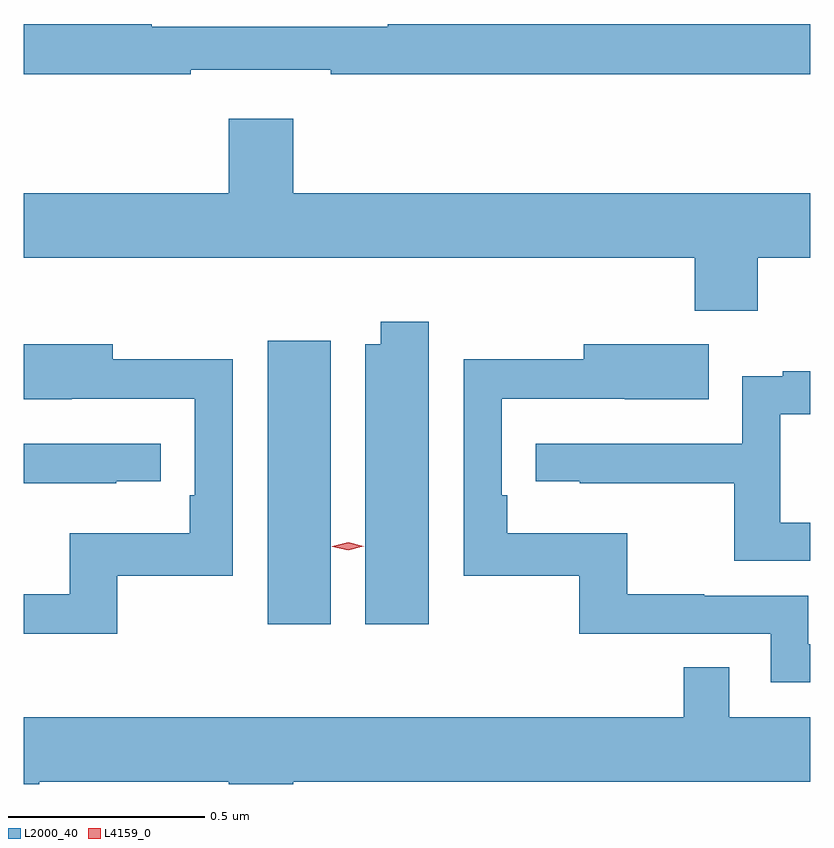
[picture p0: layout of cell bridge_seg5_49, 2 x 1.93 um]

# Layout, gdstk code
import gdstk
lib = gdstk.Library(unit=1e-6, precision=1e-09)
def R(c, l, rs):  # rectangles x0, y0, x1, y1
    for r in rs: c.add(gdstk.rectangle(r[:2], r[2:], *l))
def P(c, l, *ps):  # polygons
    for p in ps: c.add(gdstk.Polygon(p, *l))
L2000_40 = (2000, 40)
L4159_0 = (4159, 0)

bridge_seg5_49 = lib.new_cell('bridge_seg5_49')
R(bridge_seg5_49, L2000_40, [(848.423,890.46,848.584,891.181)])
P(bridge_seg5_49, L2000_40, [(848.228,891.87),(848.584,891.87),(848.584,891.858),(849.803,891.858),(849.803,891.986),(848.729,891.986),(848.729,891.979),(848.129,891.979),(848.129,891.986),(847.803,891.986),(847.803,891.858),(848.228,891.858)],
  [(849.669,891.392),(849.803,891.392),(849.803,891.556),(848.488,891.556),(848.488,891.745),(848.324,891.745),(848.324,891.556),(847.803,891.556),(847.803,891.392),(849.509,891.392),(849.509,891.257),(849.669,891.257)],
  [(848.833,891.229),(848.711,891.229),(848.711,891.172),(848.672,891.172),(848.672,890.46),(848.833,890.46)],
  [(848.041,890.583),(848.334,890.583),(848.334,891.134),(848.029,891.134),(848.029,891.172),(847.803,891.172),(847.803,891.032),(847.925,891.032),(847.925,891.033),(848.238,891.033),(848.238,890.788),(848.225,890.788),(848.225,890.692),(847.92,890.692),(847.92,890.537),(847.803,890.537),(847.803,890.436),(848.041,890.436)],
  [(849.803,890.409),(849.798,890.409),(849.798,890.532),(849.533,890.532),(849.533,890.537),(849.337,890.537),(849.337,890.692),(849.032,890.692),(849.032,890.788),(849.018,890.788),(849.018,891.033),(849.331,891.033),(849.331,891.032),(849.545,891.032),(849.545,891.172),(849.227,891.172),(849.227,891.134),(848.922,891.134),(848.922,890.583),(849.216,890.583),(849.216,890.436),(849.702,890.436),(849.702,890.313),(849.803,890.313)],
  [(849.803,890.718),(849.726,890.718),(849.726,890.994),(849.803,890.994),(849.803,891.103),(849.733,891.103),(849.733,891.091),(849.63,891.091),(849.63,890.919),(849.105,890.919),(849.105,890.823),(849.217,890.823),(849.217,890.818),(849.61,890.818),(849.61,890.622),(849.803,890.622)],
  [(848.039,890.823),(848.152,890.823),(848.152,890.919),(847.803,890.919),(847.803,890.818),(848.039,890.818)],
  [(847.843,890.06),(848.324,890.06),(848.324,890.054),(848.488,890.054),(848.488,890.06),(849.803,890.06),(849.803,890.224),(849.597,890.224),(849.597,890.351),(849.481,890.351),(849.481,890.224),(847.803,890.224),(847.803,890.054),(847.843,890.054)])
P(bridge_seg5_49, L4159_0, [(848.628,890.648),(848.588,890.657),(848.588,890.658),(848.588,890.658),(848.628,890.668),(848.668,890.658),(848.668,890.658),(848.668,890.658)])

lib.write_gds('bridge_seg5_49.gds')
